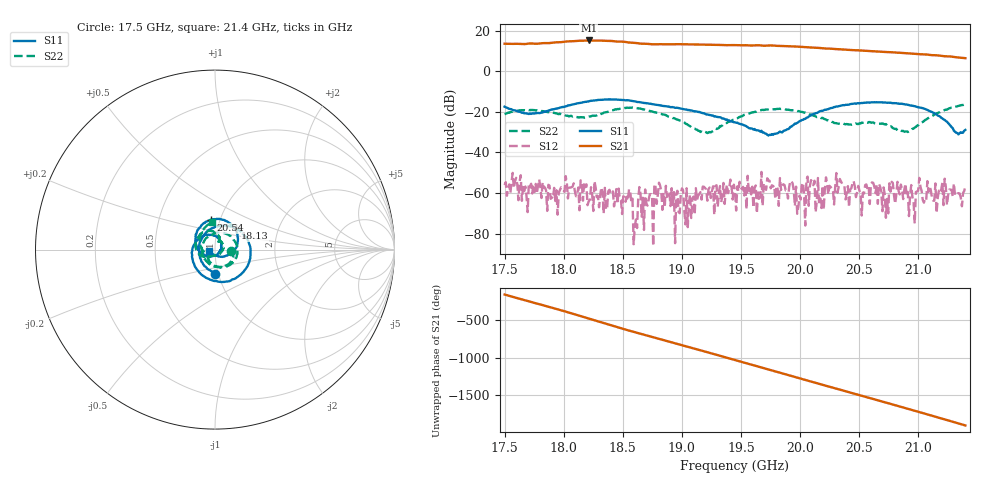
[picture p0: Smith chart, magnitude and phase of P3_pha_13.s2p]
!Created with skrf (http://scikit-rf.org).
# GHz S RI R 50.0
!freq ReS11 ImS11 ReS21 ImS21 ReS12 ImS12 ReS22 ImS22
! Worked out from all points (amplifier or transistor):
!   401 points, 17.5 GHz to 21.4 GHz, reference 50 ohm
!   highest |S21| = 15.2 dB at 18.21 GHz (marker M1)
!   |S21| within 3 dB of that: start of sweep to 19.96 GHz
!   unconditionally stable (mu >= 1): start of sweep to end of sweep
!   at 18.14 GHz: K = 41.43, MAG = 15.2 dB, |S12| = -53.8 dB
!   at 19.45 GHz: K = 99.57, MAG = 13.0 dB, |S12| = -59.0 dB
!   at 21.4 GHz: K = 152.15, MAG = 6.6 dB, |S12| = -56.4 dB
!   S11 on the Smith chart (normalised r, x): 17.5 GHz: 0.97, -0.26; 18.13 GHz: 1.22, +0.30; 20.54 GHz: 0.90, +0.31; 21.4 GHz: 0.93, -0.02
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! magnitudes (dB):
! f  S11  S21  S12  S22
! 17.5 GHz  -17.5  13.6  -56.1  -21.2
! 18.13 GHz  -15.6  15.1  -68.5  -22.7
! 18.15 GHz  -15.4  15.1  -54.8  -22.7
! 18.21 GHz  -14.8  15.2  -64.1  -22.3
! 18.56 GHz  -14.5  14.2  -59.3  -17.9
! 18.6 GHz  -14.8  14.1  -76.6  -18.1
! 18.65 GHz  -15.3  13.7  -60.6  -18.4
! 18.81 GHz  -16.7  13.4  -54.9  -20.8
! 19.04 GHz  -18.9  13.3  -57.7  -26.0
! 19.19 GHz  -20.7  13.2  -56.9  -30.3
! 19.45 GHz  -25.1  12.9  -59.0  -23.3
! 19.64 GHz  -29.2  12.9  -59.7  -19.5
! 19.74 GHz  -31.3  12.8  -54.0  -18.6
! 19.93 GHz  -27.3  12.4  -54.2  -19.2
! 19.98 GHz  -25.4  12.2  -70.3  -19.6
! 20.1 GHz  -21.3  11.7  -55.0  -21.6
! 20.18 GHz  -19.5  11.4  -67.4  -23.1
! 20.33 GHz  -17.2  10.9  -56.9  -25.9
! 20.54 GHz  -15.5  10.1  -60.3  -25.3
! 20.76 GHz  -15.5  9.5  -55.2  -27.2
! 20.92 GHz  -16.6  8.8  -71.4  -29.6
! 21.4 GHz  -28.9  6.5  -56.4  -16.3
